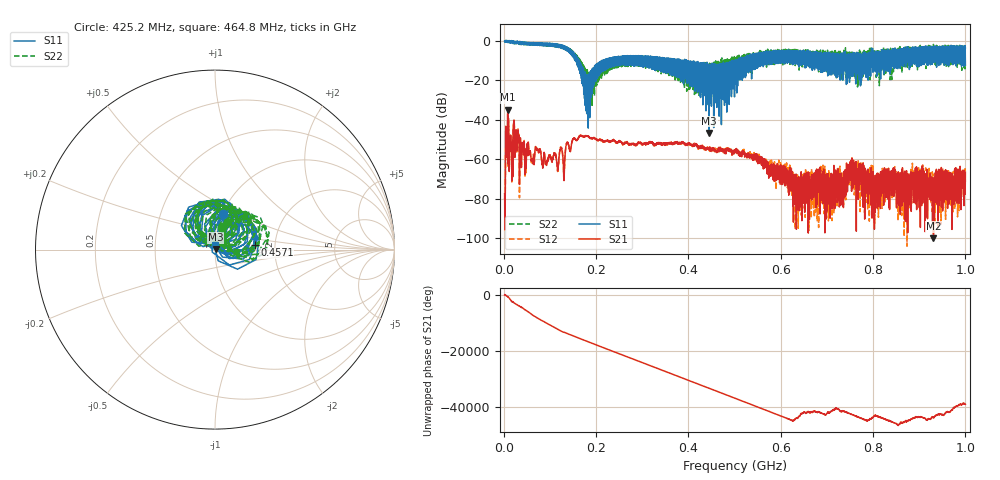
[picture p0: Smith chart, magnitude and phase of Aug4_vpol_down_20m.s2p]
!Keysight Technologies N9923A: A.12.45
!Date: Tuesday, 05 August 2025 20:43:51
!Timezone: (UTC+08:00) Kuala Lumpur, Singapore
!Model: N9923A
!Serial: MY61181427
!GPS Latitude:
!GPS Longitude:
!GPS TimeStamp: 0001-01-01 00:00:00Z
!GPS Seconds Since Last Read: 0
!CHECKSUM:0028035385
!Correction: S11(ON U)S21(ON U)S12(ON U)S22(ON U)
!S2P File: Measurements:S11,S21,S12,S22:
# Hz S DB R 50
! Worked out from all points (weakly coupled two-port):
!   4001 points, 2 MHz to 1 GHz, reference 50 ohm
!   highest |S21| = -34.98 dB at 8.736 MHz (marker M1); lowest = -100.2 dB at 930.9 MHz (marker M2)
!   lowest |S11| = -46.8 dB at 444.9 MHz (marker M3), VSWR 1.01, Z = 50.4 + j0.208 ohm
!   |S11| at or under -10 dB: 162.8 MHz to 212.3 MHz (49.49 MHz wide, 26.4 % of centre); 398.7 MHz to 494 MHz (95.3 MHz wide, 21.4 % of centre); 495.8 MHz to 500.7 MHz (4.905 MHz wide, 0.984 % of centre)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
!   |S22| runs from -35.8 to 0.1 dB; largest |S21 - S12| = 0.001
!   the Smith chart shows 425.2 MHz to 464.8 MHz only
!   S11 on the Smith chart (normalised r, x): 425.2 MHz: 1.01, +0.42; 457.1 MHz: 1.56, +0.08; 464.8 MHz: 1.00, +0.05
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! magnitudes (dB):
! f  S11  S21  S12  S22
! 2 MHz  -0.1  -77.5  -80.2  -0.1
! 8.736 MHz  -0.5  -35.0  -34.8  -0.6
! 25.2 MHz  -0.3  -49.7  -50.1  -0.2
! 62.13 MHz  -0.9  -60.1  -60.4  -1.1
! 115.5 MHz  -2.1  -63.2  -63.1  -2.3
! 168.4 MHz  -19.2  -48.0  -48.2  -15.6
! 186.6 MHz  -23.1  -49.3  -49.2  -30.2
! 229 MHz  -8.7  -51.3  -51.4  -9.8
! 334.8 MHz  -8.4  -51.8  -51.8  -10.3
! 425.2 MHz  -13.7  -54.4  -54.2  -17.6
! 444.9 MHz  -46.8  -55.1  -55.2  -22.6
! 457.1 MHz  -13.1  -55.2  -55.5  -14.9
! 464.8 MHz  -32.6  -55.3  -55.0  -15.5
! 501 MHz  -10.1  -55.8  -55.5  -9.1
! 632.2 MHz  -6.1  -78.9  -76.4  -5.7
! 667.4 MHz  -6.0  -80.7  -74.3  -6.8
! 732 MHz  -16.2  -72.7  -78.5  -6.7
! 750 MHz  -7.1  -63.9  -69.6  -8.5
! 801.9 MHz  -6.6  -82.4  -72.5  -11.9
! 833.8 MHz  -6.2  -66.6  -72.0  -14.0
! 930.9 MHz  -11.0  -100.2  -79.5  -2.2
! 1 GHz  -12.4  -66.7  -71.6  -3.9
